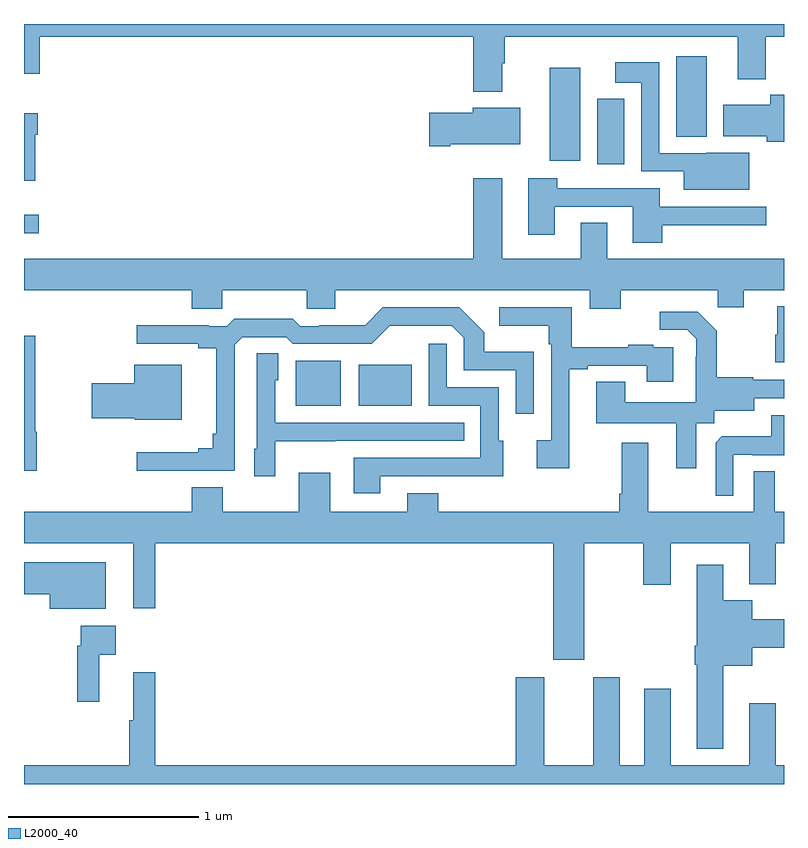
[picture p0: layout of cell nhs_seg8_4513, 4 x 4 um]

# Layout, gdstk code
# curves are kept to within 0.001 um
import gdstk
lib = gdstk.Library(unit=1e-6, precision=1e-09)
def R(c, l, rs):  # rectangles x0, y0, x1, y1
    for r in rs: c.add(gdstk.rectangle(r[:2], r[2:], *l))
def P(c, l, *ps):  # polygons
    for p in ps: c.add(gdstk.Polygon(p, *l))
L2000_40 = (2000, 40)

nhs_seg8_4513 = lib.new_cell('nhs_seg8_4513')
R(nhs_seg8_4513, L2000_40, [(386.429,1115.891,386.668,1116.127), (386.762,1115.891,387.04,1116.106), (385,1116.8,385.078,1116.897), (388.016,1117.161,388.159,1117.507), (387.767,1117.179,387.928,1117.669), (388.433,1117.307,388.594,1117.729)])
P(nhs_seg8_4513, L2000_40, [(387.517,1117.694),(387.53,1117.694),(387.53,1117.832),(388.757,1117.832),(388.757,1117.608),(388.905,1117.608),(388.905,1117.832),(389,1117.832),(389,1117.9),(385,1117.9),(385,1117.638),(385.082,1117.638),(385.082,1117.832),(387.365,1117.832),(387.365,1117.544),(387.517,1117.544)],
  [(388.816,1117.222),(388.59,1117.222),(388.59,1117.221),(388.344,1117.221),(388.344,1117.699),(388.113,1117.699),(388.113,1117.592),(388.248,1117.592),(388.248,1117.125),(388.472,1117.125),(388.472,1117.028),(388.816,1117.028)],
  [(389,1117.527),(388.928,1117.527),(388.928,1117.474),(388.679,1117.474),(388.679,1117.31),(388.909,1117.31),(388.909,1117.28),(389,1117.28)],
  [(387.244,1117.268),(387.613,1117.268),(387.613,1117.459),(387.362,1117.459),(387.362,1117.434),(387.132,1117.434),(387.132,1117.256),(387.244,1117.256)],
  [(385.06,1117.316),(385.073,1117.316),(385.073,1117.429),(385,1117.429),(385,1117.076),(385.06,1117.076)],
  [(388.141,1116.5),(388.651,1116.5),(388.651,1116.41),(388.789,1116.41),(388.789,1116.5),(389,1116.5),(389,1116.664),(388.069,1116.664),(388.069,1116.854),(387.929,1116.854),(387.929,1116.664),(387.517,1116.664),(387.517,1117.087),(387.365,1117.087),(387.365,1116.664),(385,1116.664),(385,1116.5),(385.883,1116.5),(385.883,1116.402),(386.043,1116.402),(386.043,1116.5),(386.488,1116.5),(386.488,1116.402),(386.638,1116.402),(386.638,1116.5),(387.977,1116.5),(387.977,1116.401),(388.141,1116.401)],
  [(388.358,1116.842),(388.906,1116.842),(388.906,1116.939),(388.345,1116.939),(388.345,1117.035),(387.806,1117.035),(387.806,1117.087),(387.653,1117.087),(387.653,1116.792),(387.793,1116.792),(387.793,1116.939),(388.205,1116.939),(388.205,1116.75),(388.358,1116.75)],
  [(389,1116.415),(388.964,1116.415),(388.964,1116.264),(388.953,1116.264),(388.953,1116.12),(389,1116.12)],
  [(386.109,1116.213),(386.148,1116.252),(386.379,1116.252),(386.415,1116.216),(386.829,1116.216),(386.924,1116.311),(387.252,1116.312),(387.315,1116.249),(387.315,1116.078),(387.588,1116.078),(387.588,1115.85),(387.684,1115.85),(387.684,1116.175),(387.423,1116.175),(387.423,1116.278),(387.292,1116.408),(386.889,1116.408),(386.795,1116.314),(386.554,1116.314),(386.554,1116.309),(386.454,1116.309),(386.415,1116.349),(386.107,1116.349),(386.067,1116.309),(385.973,1116.309),(385.973,1116.314),(385.593,1116.314),(385.593,1116.216),(385.916,1116.216),(385.916,1116.194),(386.012,1116.194),(386.012,1115.743),(385.993,1115.743),(385.993,1115.666),(385.916,1115.666),(385.916,1115.647),(385.593,1115.647),(385.593,1115.55),(386.109,1115.55)],
  [(387.871,1116.084),(387.967,1116.084),(387.967,1116.102),(388.277,1116.102),(388.277,1116.018),(388.417,1116.018),(388.417,1116.198),(388.313,1116.198),(388.313,1116.211),(388.181,1116.211),(388.181,1116.2),(387.883,1116.2),(387.883,1116.408),(387.501,1116.408),(387.501,1116.311),(387.762,1116.311),(387.762,1116.215),(387.774,1116.215),(387.774,1115.71),(387.699,1115.71),(387.699,1115.562),(387.871,1115.562)],
  [(388.537,1115.8),(388.632,1115.8),(388.632,1115.864),(388.843,1115.864),(388.843,1115.931),(389,1115.931),(389,1116.027),(388.839,1116.027),(388.839,1116.04),(388.647,1116.04),(388.647,1116.285),(388.547,1116.385),(388.347,1116.385),(388.347,1116.291),(388.491,1116.291),(388.538,1116.244),(388.538,1116.149),(388.536,1116.149),(388.536,1115.908),(388.165,1115.908),(388.165,1116.017),(388.013,1116.017),(388.013,1115.798),(388.433,1115.798),(388.433,1115.562),(388.537,1115.562)],
  [(385.067,1115.753),(385.06,1115.753),(385.06,1116.259),(385,1116.259),(385,1115.549),(385.067,1115.549)],
  [(386.875,1115.52),(387.305,1115.52),(387.305,1115.519),(387.523,1115.519),(387.523,1115.706),(387.498,1115.706),(387.498,1115.988),(387.225,1115.988),(387.225,1116.217),(387.129,1116.217),(387.129,1115.892),(387.402,1115.892),(387.402,1115.616),(386.735,1115.616),(386.735,1115.43),(386.875,1115.43)],
  [(386.322,1115.705),(386.639,1115.705),(386.639,1115.706),(387.317,1115.706),(387.317,1115.802),(386.322,1115.802),(386.322,1116.024),(386.338,1116.024),(386.338,1116.167),(386.226,1116.167),(386.226,1115.664),(386.213,1115.664),(386.213,1115.52),(386.322,1115.52)],
  [(385.831,1116.106),(385.58,1116.106),(385.58,1116.008),(385.356,1116.008),(385.356,1115.825),(385.584,1115.825),(385.584,1115.816),(385.831,1115.816)],
  [(388.734,1115.634),(388.834,1115.634),(388.834,1115.631),(389,1115.631),(389,1115.841),(388.932,1115.841),(388.932,1115.729),(388.673,1115.729),(388.641,1115.697),(388.641,1115.417),(388.734,1115.417)],
  [(387.949,1115.168),(388.258,1115.168),(388.258,1114.95),(388.405,1114.95),(388.405,1115.168),(388.817,1115.168),(388.817,1114.952),(388.957,1114.952),(388.957,1115.168),(389,1115.168),(389,1115.332),(388.951,1115.332),(388.951,1115.546),(388.842,1115.546),(388.842,1115.332),(388.285,1115.332),(388.285,1115.695),(388.145,1115.695),(388.145,1115.428),(388.133,1115.428),(388.133,1115.332),(387.181,1115.332),(387.181,1115.431),(387.017,1115.431),(387.017,1115.332),(386.611,1115.332),(386.611,1115.539),(386.447,1115.539),(386.447,1115.332),(386.047,1115.332),(386.047,1115.461),(385.883,1115.461),(385.883,1115.332),(385,1115.332),(385,1115.168),(385.574,1115.168),(385.574,1114.824),(385.691,1114.824),(385.691,1115.168),(387.785,1115.168),(387.785,1114.554),(387.949,1114.554)],
  [(385.429,1115.068),(385,1115.068),(385,1114.898),(385.136,1114.898),(385.136,1114.823),(385.429,1114.823)],
  [(388.681,1114.523),(388.834,1114.523),(388.834,1114.616),(389,1114.616),(389,1114.768),(388.834,1114.768),(388.834,1114.867),(388.681,1114.867),(388.681,1115.053),(388.541,1115.053),(388.541,1114.627),(388.529,1114.627),(388.529,1114.527),(388.541,1114.527),(388.541,1114.085),(388.681,1114.085)],
  [(385.397,1114.58),(385.483,1114.58),(385.483,1114.732),(385.299,1114.732),(385.299,1114.628),(385.279,1114.628),(385.279,1114.332),(385.397,1114.332)],
  [(387.587,1114),(385.691,1114),(385.691,1114.489),(385.574,1114.489),(385.574,1114.236),(385.555,1114.236),(385.555,1114),(385,1114),(385,1113.9),(389,1113.9),(389,1114),(388.957,1114),(388.957,1114.324),(388.817,1114.324),(388.817,1114),(388.405,1114),(388.405,1114.402),(388.265,1114.402),(388.265,1114),(388.135,1114),(388.135,1114.462),(387.995,1114.462),(387.995,1114),(387.739,1114),(387.739,1114.462),(387.587,1114.462)])

lib.write_gds('nhs_seg8_4513.gds')
